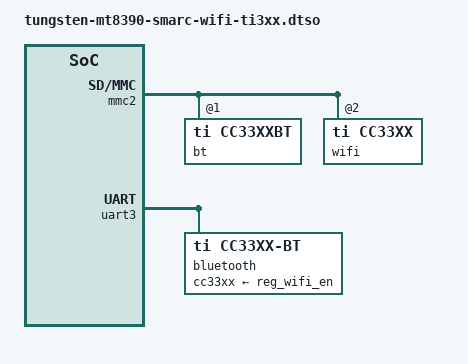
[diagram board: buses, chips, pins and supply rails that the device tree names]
// SPDX-License-Identifier: (GPL-2.0+ OR MIT)
/*
 * On-board SDIO TI3xx module
 */

/dts-v1/;
/plugin/;

&reg_wifi_en {
	startup-delay-us = <10000>;
	off-on-delay-us = <100>;
};

&mmc2 {
	status = "okay";
	cap-power-off-card;

	#address-cells = <1>;
	#size-cells = <0>;

	bt@1 {
		reg = <1>;
		compatible = "ti,cc33xxbt";
	};

	wifi@2 {
		reg = <2>;
		compatible = "ti,cc33xx";
	};
};

&uart3 {
	status = "okay";

	bluetooth {
		compatible = "ti,cc33xx-bt";
		cc33xx-supply = <&reg_wifi_en>;
		max-speed = <115200>;
	};
};
